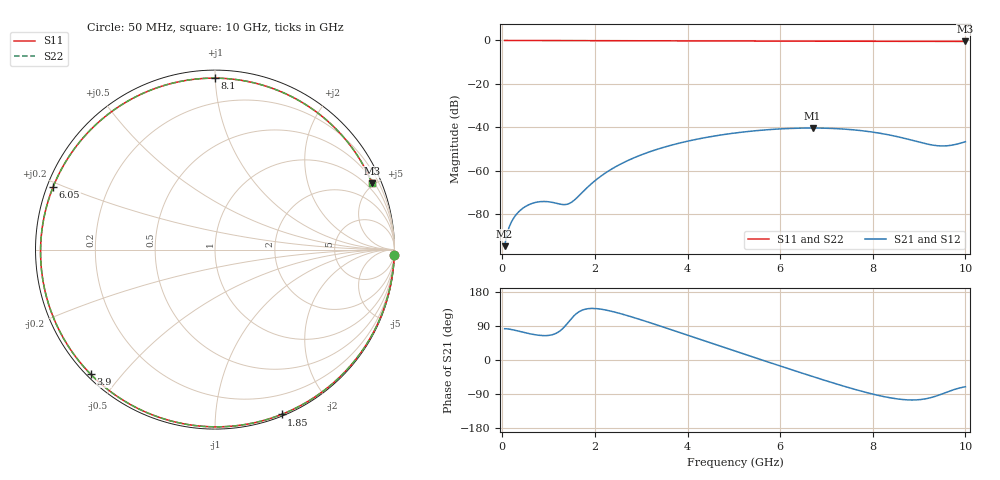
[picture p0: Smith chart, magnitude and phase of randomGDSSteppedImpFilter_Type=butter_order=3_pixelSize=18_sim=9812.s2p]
! freq	dB(S11)	phase(S11)	dB(S12)	phase(S12)
!  dB(S21)	phase(S21)	dB(S22)	phase(S22)
!S-par simulation data
#  GHz  S  DB  R 50
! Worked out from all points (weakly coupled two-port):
!   200 points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, 50 MHz to 10 GHz, reference 50 ohm
!   highest |S21| = -40.26 dB at 6.7 GHz (marker M1); lowest = -94.6 dB at 50 MHz (marker M2)
!   lowest |S11| = -0.4 dB at 10 GHz (marker M3), VSWR 38.65, Z = 32.4 + j243 ohm
!   |S11| at or under -10 dB: nowhere
!   |S22| runs from -0.4 to 0.0 dB; largest |S21 - S12| = 0
!   S11 on the Smith chart (normalised r, x): 50 MHz: 1, -62; 1.85 GHz: 0.02, -1.48; 3.9 GHz: 0.01, -0.41; 6.05 GHz: 0.02, +0.19; 8.1 GHz: 0.05, +1.00; 10 GHz: 0.65, +4.86
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0.05  -0.00 -1.8  -94.56 82.5  -94.56 82.5  -0.00 -1.9
0.3  -0.02 -11.3  -80.04 77.7  -80.04 77.7  -0.02 -11.3
0.5  -0.03 -18.9  -76.33 71.8  -76.33 71.8  -0.03 -18.9
0.75  -0.04 -28.3  -74.31 65.9  -74.31 65.9  -0.04 -28.3
1.4  -0.06 -52.1  -75.30 95.9  -75.30 95.9  -0.06 -52.1
1.55  -0.07 -57.5  -73.49 117.0  -73.49 117.0  -0.07 -57.5
1.75  -0.08 -64.5  -69.36 132.6  -69.36 132.6  -0.08 -64.5
1.85  -0.08 -68.0  -67.30 135.4  -67.30 135.4  -0.08 -68.0
2.5  -0.11 -90.2  -57.44 124.1  -57.44 124.1  -0.11 -90.2
3.4  -0.15 -119.3  -49.67 90.0  -49.67 90.0  -0.15 -119.3
3.9  -0.17 -134.9  -46.80 69.7  -46.80 69.7  -0.17 -134.9
4.5  -0.20 -153.3  -44.21 45.1  -44.21 45.1  -0.20 -153.3
5.05  -0.23 -170.1  -42.48 22.7  -42.48 22.7  -0.23 -170.1
5.55  -0.26 174.5  -41.34 2.4  -41.34 2.4  -0.26 174.5
6.05  -0.29 158.8  -40.61 -17.8  -40.61 -17.8  -0.29 158.9
6.7  -0.33 137.9  -40.26 -43.5  -40.26 -43.5  -0.33 137.9
7.45  -0.37 112.7  -40.85 -71.8  -40.85 -71.8  -0.37 112.8
8.1  -0.40 90.0  -42.46 -92.9  -42.46 -92.9  -0.40 90.1
8.35  -0.40 81.1  -43.41 -99.2  -43.41 -99.2  -0.40 81.3
8.85  -0.42 63.3  -45.88 -105.5  -45.88 -105.5  -0.42 63.4
9.4  -0.43 43.7  -48.40 -93.8  -48.40 -93.8  -0.43 43.8
10  -0.45 22.9  -46.55 -70.6  -46.55 -70.6  -0.45 23.0
